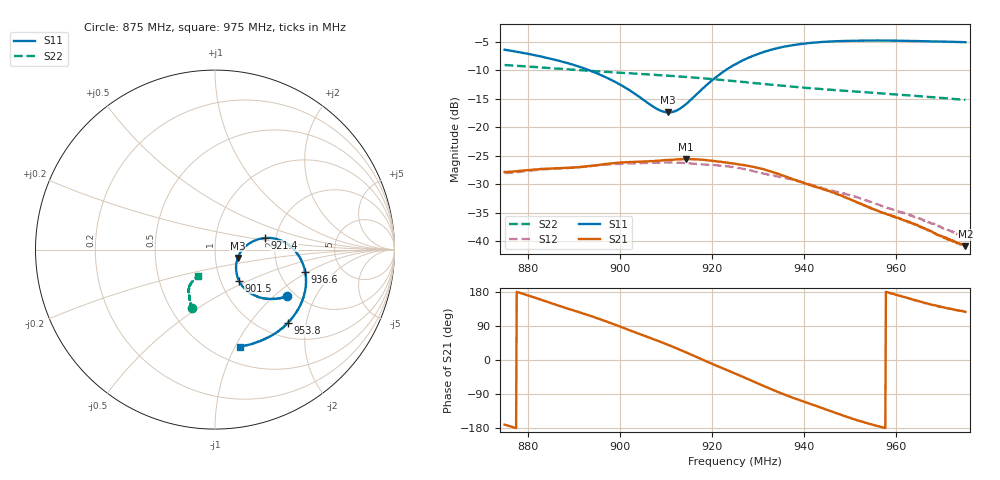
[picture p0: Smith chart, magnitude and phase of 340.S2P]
! C:\Users\rflab\Downloads\Lab5_KD_ZW\Q3\340.S2P
! Touchstone 1.1 file saved by VNA.EXE V1.65 (www.ke5fx.com/gpib/readme.htm)
! 11/18/2024 10:41:57 PM
!  Source: HEWLETT PACKARD,8753D,0,6.14
!  Min freq: 8.750000E+008 Hz
!  Max freq: 9.750200E+008 Hz
!  Points: 801
!  Params: S11 S21 S12 S22
# GHZ S MA R 50
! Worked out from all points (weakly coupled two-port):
!   801 points, 875 MHz to 975 MHz, reference 50 ohm
!   highest |S21| = -25.58 dB at 914.4 MHz (marker M1); lowest = -40.9 dB at 975 MHz (marker M2)
!   lowest |S11| = -17.4 dB at 910.5 MHz (marker M3), VSWR 1.31, Z = 64.1 - j6.1 ohm
!   |S11| at or under -10 dB: 893.3 MHz to 923 MHz (29.66 MHz wide, 3.27 % of centre)
!   |S22| runs from -15.2 to -9.1 dB; largest |S21 - S12| = 0.0097
!   S11 on the Smith chart (normalised r, x): 875 MHz: 1.81, -1.22; 901.5 MHz: 1.22, -0.44; 921.4 MHz: 1.75, +0.24; 936.6 MHz: 2.79, -0.93; 953.8 MHz: 1.28, -1.57; 975 MHz: 0.67, -1.04
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0.875  0.4786 -33.1  0.04038 -170.7  0.03955 -160.0  0.3507 -111.4
0.8831266  0.4151 -41.5  0.04293 158.0  0.04252 167.6  0.3334 -113.9
0.8917534  0.334 -49.5  0.04482 123.9  0.04468 131.6  0.3161 -116.3
0.8965043  0.2794 -52.6  0.04715 104.3  0.04673 110.8  0.3071 -117.4
0.9015053  0.2182 -52.4  0.04935 81.7  0.04788 87.6  0.2976 -118.6
0.9083817  0.1424 -33.4  0.05052 50.0  0.04893 55.8  0.2863 -120.4
0.9105071  0.1344 -20.3  0.05141 39.9  0.04892 45.2  0.2829 -121.0
0.9121324  0.1387 -9.5  0.05196 31.8  0.0488 37.1  0.2791 -121.3
0.9143829  0.1595 2.8  0.05258 19.8  0.04836 25.9  0.2761 -122.0
0.9182586  0.2226 12.6  0.05148 -0.7  0.04693 7.2  0.2683 -123.0
0.9213843  0.2848 13.1  0.04976 -17.1  0.04594 -8.0  0.2614 -123.8
0.92501  0.3557 9.2  0.04781 -35.7  0.04427 -26.5  0.2531 -124.6
0.9276355  0.4017 4.7  0.04585 -49.2  0.04241 -39.8  0.2473 -125.2
0.9310112  0.4537 -2.1  0.04292 -67.4  0.03919 -55.5  0.2404 -125.3
0.9366373  0.517 -13.7  0.03584 -95.7  0.03535 -80.9  0.2284 -125.6
0.9417633  0.55 -23.9  0.03058 -117.8  0.03106 -104.4  0.219 -125.3
0.9463893  0.5664 -32.6  0.02664 -137.5  0.02749 -123.4  0.2121 -125.2
0.9537657  0.5759 -45.2  0.02015 -167.1  0.02253 -153.9  0.2018 -124.8
0.9583917  0.5767 -52.4  0.01705 177.4  0.01935 -171.9  0.1957 -124.6
0.9667684  0.5673 -64.5  0.01242 149.3  0.01476 157.2  0.1848 -124.0
0.9691438  0.565 -67.8  0.01132 141.9  0.01361 148.9  0.1813 -123.6
0.97502  0.5572 -75.8  0.009008 126.8  0.01088 131.2  0.1734 -122.7
